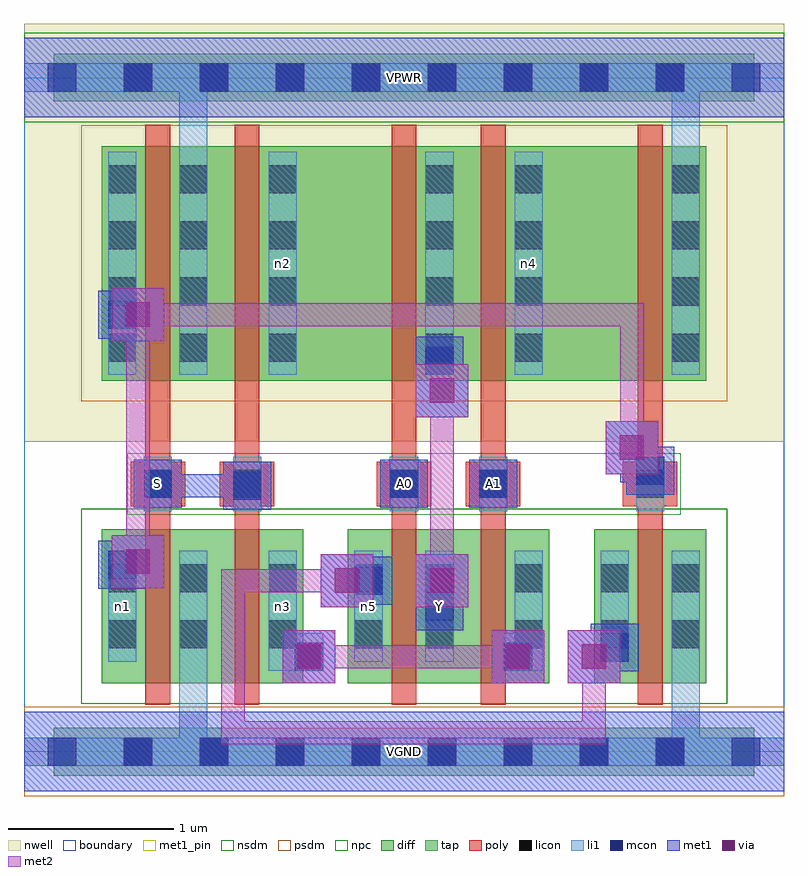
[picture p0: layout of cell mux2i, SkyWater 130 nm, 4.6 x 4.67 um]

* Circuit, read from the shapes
.subckt mux2i A0 A1 S VGND VPWR Y n1 n2 n3 n4 n5
XM1 VGND S n1 VGND sky130_fd_pr__nfet_01v8 w=0.93 l=0.15
XM2 n3 S VGND VGND sky130_fd_pr__nfet_01v8 w=0.93 l=0.15
XM3 Y A0 n5 VGND sky130_fd_pr__nfet_01v8 w=0.93 l=0.15
XM4 n3 A1 Y VGND sky130_fd_pr__nfet_01v8 w=0.93 l=0.15
XM5 VGND n1 n5 VGND sky130_fd_pr__nfet_01v8 w=0.93 l=0.15
XM6 VPWR S n1 VPWR sky130_fd_pr__pfet_01v8 w=1.42 l=0.15
XM7 n2 S VPWR VPWR sky130_fd_pr__pfet_01v8 w=1.42 l=0.15
XM8 Y A0 n2 VPWR sky130_fd_pr__pfet_01v8 w=1.42 l=0.15
XM9 n4 A1 Y VPWR sky130_fd_pr__pfet_01v8 w=1.42 l=0.15
XM10 VPWR n1 n4 VPWR sky130_fd_pr__pfet_01v8 w=1.42 l=0.15
.ends

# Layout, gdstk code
import gdstk
lib = gdstk.Library(unit=1e-6, precision=1e-09)
def R(c, l, rs):  # rectangles x0, y0, x1, y1
    for r in rs: c.add(gdstk.rectangle(r[:2], r[2:], *l))
def A(c, l, x, y, w, h, nx, ny, dx, dy):  # array of equal rectangles
    R(c, l, [(x+i*dx, y+j*dy, x+i*dx+w, y+j*dy+h) for i in range(nx) for j in range(ny)])
nwell = (64, 20)
diff = (65, 20)
tap = (65, 44)
poly = (66, 20)
licon = (66, 44)
li1 = (67, 20)
mcon = (67, 44)
met1_pin = (68, 16)
met1 = (68, 20)
via = (68, 44)
met2 = (69, 20)
nsdm = (93, 44)
psdm = (94, 20)
npc = (95, 20)
boundary = (235, 4)

mux2i = lib.new_cell('mux2i')
R(mux2i, nwell, [(0,1.875,4.6,4.405)])
R(mux2i, diff, [(0.47,0.415,1.69,1.345), (1.96,0.415,3.18,1.345), (3.45,0.415,4.13,1.345), (0.47,2.245,4.13,3.665)])
R(mux2i, tap, [(0.18,-0.145,4.42,0.145), (0.18,3.935,4.42,4.225)])
R(mux2i, poly, [(0.735,0.285,0.885,3.795), (1.275,0.285,1.425,3.795), (2.225,0.285,2.375,3.795), (2.765,0.285,2.915,3.795), (3.715,0.285,3.865,3.795), (0.645,1.485,0.975,1.755), (1.185,1.485,1.515,1.755), (2.135,1.485,2.465,1.755), (2.675,1.485,3.005,1.755), (3.625,1.485,3.955,1.755)])
A(mux2i, licon, 0.605, -0.085, 0.17, 0.17, 8, 2, 0.46, 4.08)
A(mux2i, licon, 0.51, 2.36, 0.17, 0.17, 1, 4, 0, 0.34)
A(mux2i, licon, 0.94, 2.36, 0.17, 0.17, 1, 4, 0, 0.34)
A(mux2i, licon, 1.48, 2.36, 0.17, 0.17, 1, 4, 0, 0.34)
A(mux2i, licon, 2.43, 2.36, 0.17, 0.17, 1, 4, 0, 0.34)
A(mux2i, licon, 2.97, 2.36, 0.17, 0.17, 1, 4, 0, 0.34)
A(mux2i, licon, 3.92, 2.36, 0.17, 0.17, 1, 4, 0, 0.34)
R(mux2i, licon, [(0.51,0.625,0.68,0.795), (0.94,0.625,1.11,0.795), (1.48,0.625,1.65,0.795), (2,0.625,2.17,0.795), (2.43,0.625,2.6,0.795), (2.97,0.625,3.14,0.795), (3.49,0.625,3.66,0.795), (3.92,0.625,4.09,0.795), (0.51,0.965,0.68,1.135), (0.94,0.965,1.11,1.135), (1.48,0.965,1.65,1.135), (2,0.965,2.17,1.135), (2.43,0.965,2.6,1.135), (2.97,0.965,3.14,1.135), (3.49,0.965,3.66,1.135), (3.92,0.965,4.09,1.135), (0.725,1.535,0.895,1.705), (1.265,1.535,1.435,1.705), (2.215,1.535,2.385,1.705), (2.755,1.535,2.925,1.705), (3.705,1.535,3.875,1.705)])
R(mux2i, li1, [(0,-0.085,4.6,0.085), (0.94,-0.085,1.11,1.215), (3.92,-0.085,4.09,1.215), (1.48,0.49,1.81,0.715), (2.905,0.49,3.14,0.715), (0.51,0.545,0.68,1.215), (0.94,0.545,1.11,1.215), (1.48,0.545,1.65,1.215), (2,0.545,2.17,1.215), (2.43,0.545,2.6,1.215), (2.97,0.545,3.14,1.215), (3.49,0.545,3.66,1.215), (3.92,0.545,4.09,1.215), (0.725,1.455,0.895,1.785), (1.265,1.455,1.435,1.785), (2.215,1.455,2.385,1.785), (2.755,1.455,2.925,1.785), (3.705,1.455,3.875,1.785), (0.51,2.28,0.68,3.63), (0.94,2.28,1.11,3.63), (0.94,2.28,1.11,4.165), (1.48,2.28,1.65,3.63), (2.43,2.28,2.6,3.63), (2.97,2.28,3.14,3.63), (3.92,2.28,4.09,3.63), (3.92,2.28,4.09,4.165), (0,3.995,4.6,4.165)])
A(mux2i, mcon, 0.145, -0.085, 0.17, 0.17, 10, 2, 0.46, 4.08)
R(mux2i, mcon, [(1.64,0.49,1.81,0.66), (2.905,0.49,3.075,0.66), (3.49,0.545,3.66,0.715), (2.43,0.795,2.6,0.965), (2,0.95,2.17,1.12), (0.51,1.045,0.68,1.215), (1.265,1.525,1.435,1.695), (0.725,1.535,0.895,1.705), (2.215,1.535,2.385,1.705), (2.755,1.535,2.925,1.705), (3.705,1.615,3.875,1.785), (2.43,2.28,2.6,2.45), (0.51,2.56,0.68,2.73)])
R(mux2i, met1_pin, [(0,-0.24,4.6,0.24), (2.37,0.735,2.66,1.025), (0.665,1.475,0.955,1.765), (2.155,1.475,2.445,1.765), (2.695,1.475,2.985,1.765), (0,3.84,4.6,4.32)])
R(mux2i, met1, [(0,-0.24,4.6,0.24), (1.565,0.415,1.885,0.735), (2.83,0.415,3.15,0.735), (3.29,0.415,3.61,0.735), (1.58,0.43,1.87,0.72), (2.845,0.43,3.135,0.72), (3.43,0.485,3.72,0.775), (3.38,0.505,3.52,0.7), (3.38,0.56,3.645,0.7), (2.37,0.735,2.66,1.025), (2.46,0.85,2.6,0.99), (2.46,0.85,2.6,1.105), (1.795,0.875,2.115,1.195), (2.37,0.875,2.69,1.195), (1.94,0.89,2.23,1.18), (1.885,0.965,2.155,1.105), (0.45,0.985,0.74,1.275), (0.53,0.99,0.85,1.31), (0.525,1.06,0.76,1.2), (0.62,1.06,0.76,1.22), (1.205,1.465,1.495,1.755), (0.665,1.475,0.955,1.765), (2.155,1.475,2.445,1.765), (2.695,1.475,2.985,1.765), (0.735,1.54,0.875,1.68), (0.735,1.54,1.22,1.68), (1.08,1.54,1.42,1.68), (3.645,1.555,3.935,1.845), (3.61,1.63,3.86,1.77), (3.61,1.63,3.75,1.91), (3.52,1.68,3.84,2), (2.37,2.025,2.69,2.345), (2.46,2.115,2.6,2.435), (2.37,2.22,2.66,2.51), (2.445,2.295,2.6,2.435), (0.53,2.485,0.85,2.805), (0.45,2.5,0.74,2.79), (0.525,2.575,0.76,2.715), (0,3.84,4.6,4.32)])
R(mux2i, via, [(1.65,0.5,1.8,0.65), (2.915,0.5,3.065,0.65), (3.375,0.5,3.525,0.65), (1.88,0.96,2.03,1.11), (2.455,0.96,2.605,1.11), (0.615,1.075,0.765,1.225), (3.605,1.765,3.755,1.915), (2.455,2.11,2.605,2.26), (0.615,2.57,0.765,2.72)])
R(mux2i, met2, [(1.195,0.045,1.335,1.105), (1.195,0.045,3.52,0.185), (3.38,0.045,3.52,0.645), (1.565,0.415,1.885,0.735), (2.83,0.415,3.15,0.735), (3.29,0.415,3.61,0.735), (1.655,0.505,3.06,0.645), (1.795,0.875,2.115,1.195), (2.37,0.875,2.69,1.195), (1.195,0.965,2.025,1.105), (2.46,0.965,2.6,2.255), (0.53,0.99,0.85,1.31), (0.62,1.08,0.76,2.715), (3.52,1.68,3.84,2), (3.61,1.77,3.75,2.715), (2.37,2.025,2.69,2.345), (0.53,2.485,0.85,2.805), (0.62,2.575,3.75,2.715)])
R(mux2i, nsdm, [(0.345,0.29,4.255,1.47), (0,3.81,4.6,4.35)])
R(mux2i, psdm, [(0,-0.27,4.6,0.27), (0.345,2.12,4.255,3.79)])
R(mux2i, npc, [(0.625,1.435,3.975,1.805)])
R(mux2i, boundary, [(0,0,4.6,4.08)])
mux2i.add(gdstk.Label('n1', (0.595,0.88), layer=67, texttype=5))
mux2i.add(gdstk.Label('n3', (1.565,0.88), layer=67, texttype=5))
mux2i.add(gdstk.Label('n5', (2.085,0.88), layer=67, texttype=5))
mux2i.add(gdstk.Label('n2', (1.565,2.955), layer=67, texttype=5))
mux2i.add(gdstk.Label('n4', (3.055,2.955), layer=67, texttype=5))
mux2i.add(gdstk.Label('S', (0.81,1.62), layer=68, texttype=5))
mux2i.add(gdstk.Label('A0', (2.3,1.62), layer=68, texttype=5))
mux2i.add(gdstk.Label('A1', (2.84,1.62), layer=68, texttype=5))
mux2i.add(gdstk.Label('Y', (2.515,0.88), layer=68, texttype=5))
mux2i.add(gdstk.Label('VPWR', (2.3,4.08), layer=68, texttype=5))
mux2i.add(gdstk.Label('VGND', (2.3,0), layer=68, texttype=5))
mux2i.add(gdstk.Label('S', (0.81,1.62), layer=68, texttype=16))
mux2i.add(gdstk.Label('A0', (2.3,1.62), layer=68, texttype=16))
mux2i.add(gdstk.Label('A1', (2.84,1.62), layer=68, texttype=16))
mux2i.add(gdstk.Label('Y', (2.515,0.88), layer=68, texttype=16))
mux2i.add(gdstk.Label('VPWR', (2.3,4.08), layer=68, texttype=16))
mux2i.add(gdstk.Label('VGND', (2.3,0), layer=68, texttype=16))

lib.write_gds('mux2i.gds')
